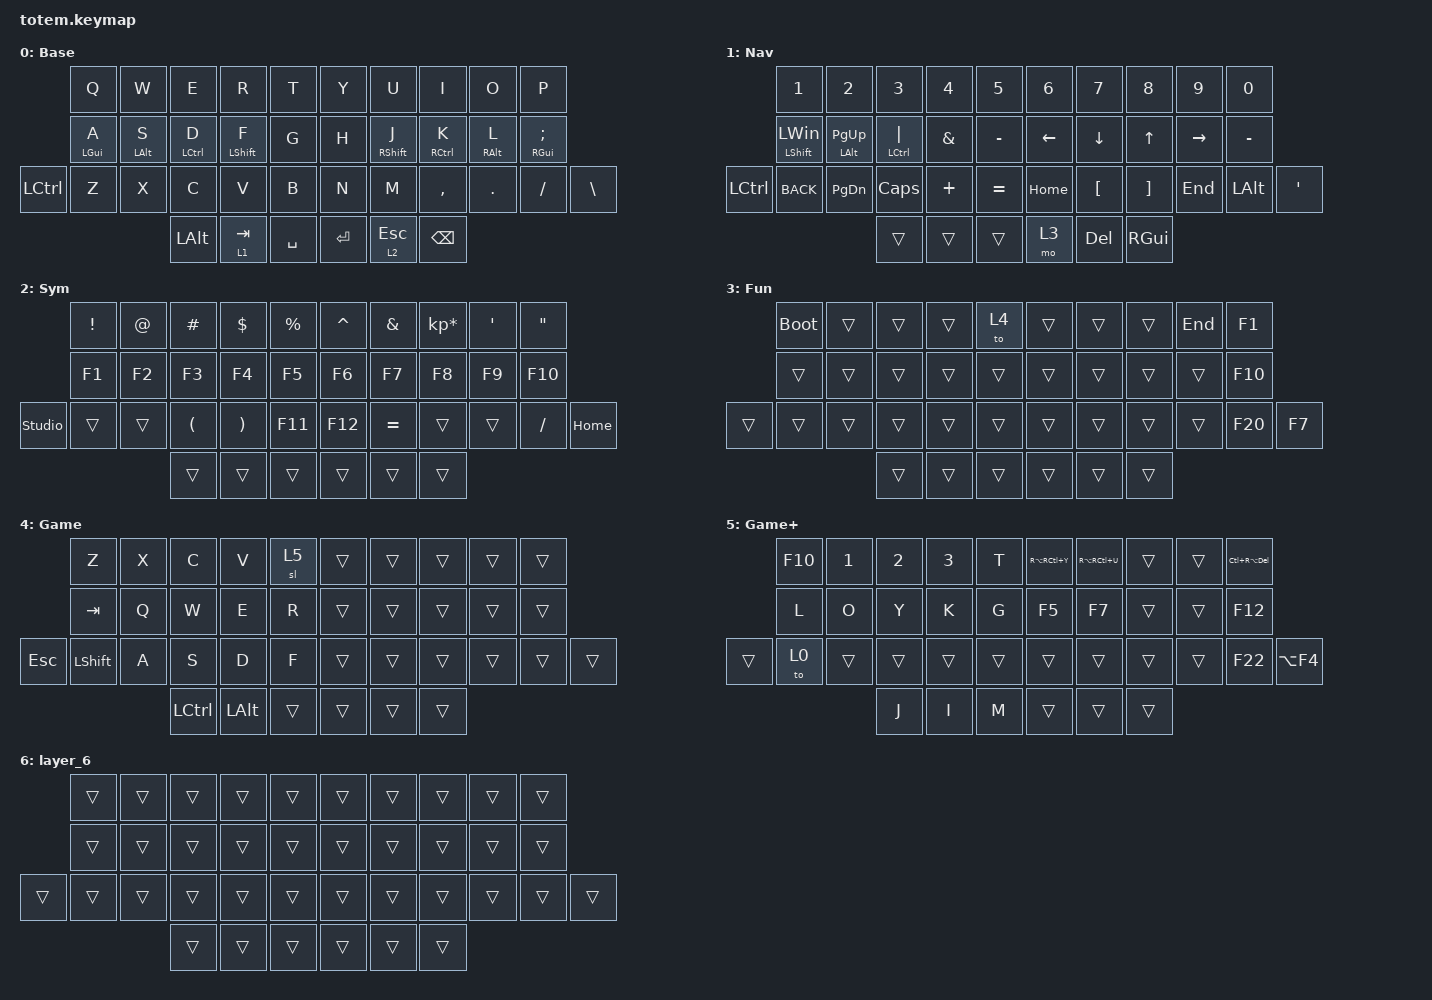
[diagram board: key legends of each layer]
//
//                                                        ▀▀▀▀▀     ▀▀▀▀▀          ▀▀█▀▀
//                                                        ▄▀▀▀▄  ▄  ▄▀▀▀▄  ▄  ▄▀▀▀▄  █  ▄▀▀▀▄
//                                                        █   █  █  █   █  █  █   █  █  █   █
//                                                         ▀▀▀   █   ▀▀▀   █   ▀▀▀   ▀   ▀▀▀
//                                                               █      ▄▄▄█▄▄▄    █   █  
//                                                               ▀      █  █  █     █▄█
//                                                             ▀▀▀▀▀    █  █  █      ▀
//                                                                      ▀  ▀  ▀
//
// ▄▄▄▄▄▄▄▄▄▄▄▄▄▄▄▄▄▄▄▄▄▄▄▄▄▄▄▄▄▄▄▄▄▄▄▄▄▄▄▄▄▄▄▄▄▄▄▄▄▄▄▄▄▄▄▄▄▄▄▄▄▄▄▄▄▄▄▄▄▄▄▄▄▄▄▄▄▄▄▄▄▄▄▄▄▄▄▄▄▄▄▄▄▄▄▄▄▄▄▄▄▄▄▄▄▄▄▄▄▄▄▄▄▄▄▄▄▄▄▄▄▄▄▄▄▄▄▄▄▄▄▄▄▄▄▄▄▄▄▄▄▄▄▄▄▄▄▄▄

#include <behaviors.dtsi>
#include <dt-bindings/zmk/keys.h>

#define Base        0
#define Nav         1
#define Sym         2
#define Fun         3
#define Game        4
#define Gameplus    5

&mt {
    quick-tap-ms = <100>;
    global-quick-tap;
    flavor = "tap-preferred";
    tapping-term-ms = <170>;
};

&lt {
    tapping-term-ms = <240>;
    flavor = "balanced";
    quick-tap-ms = <150>;
};

/ {
    behaviors {
        hm: homerow_mods {
            compatible = "zmk,behavior-hold-tap";
            label = "HOMEROW_MODS";
            #binding-cells = <2>;
            flavor = "tap-preferred";
            tapping-term-ms = <200>;
            quick-tap-ms = <125>;
            global-quick-tap;
            bindings = <&kp>, <&kp>;
        };
    };

    combos {
        compatible = "zmk,combos";

        esc {
            bindings = <&kp ESCAPE>;
            key-positions = <0 1>;
        };
    };

    keymap {
        compatible = "zmk,keymap";

        Base {
            display-name = "Base";
            bindings = <
           &kp Q       &kp W       &kp E         &kp R         &kp T        &kp Y    &kp U         &kp I          &kp O       &kp P
           &hm LGUI A  &hm LALT S  &hm LCTRL D   &hm LSHIFT F  &kp G        &kp H    &hm RSHFT J   &hm RCTRL K    &hm RALT L  &hm RGUI SEMICOLON
&kp LCTRL  &kp Z       &kp X       &kp C         &kp V         &kp B        &kp N    &kp M         &kp COMMA      &kp DOT     &kp SLASH           &kp BACKSLASH
                                   &kp LEFT_ALT  &lt 1 TAB     &kp SPACE    &kp RET  &lt 2 ESCAPE  &kp BACKSPACE
            >;
        };

        Nav {
            display-name = "Nav";
            bindings = <
           &kp NUMBER_1         &kp NUMBER_2          &kp NUMBER_3           &kp NUMBER_4  &kp NUMBER_5    &kp NUMBER_6    &kp N7            &kp NUMBER_8       &kp NUMBER_9  &kp NUMBER_0
           &mt LEFT_SHIFT LWIN  &mt LEFT_ALT PAGE_UP  &mt LEFT_CONTROL PIPE  &kp AMPS      &kp MINUS       &kp LEFT_ARROW  &kp DOWN          &kp UP_ARROW       &kp RIGHT     &kp MINUS
&kp LCTRL  &kp K_BACK           &kp PAGE_DOWN         &kp CLCK               &kp PLUS      &kp EQUAL       &kp HOME        &kp LEFT_BRACKET  &kp RIGHT_BRACKET  &kp END       &kp LEFT_ALT  &kp SINGLE_QUOTE
                                                      &trans                 &trans        &trans          &mo 3           &kp DEL           &kp RIGHT_GUI
            >;
        };

        Sym {
            display-name = "Sym";
            bindings = <
                &kp EXCL  &kp AT  &kp HASH              &kp DOLLAR             &kp PERCENT    &kp CARET  &kp AMPERSAND  &kp KP_ASTERISK  &kp SQT  &kp DQT
                &kp F1    &kp F2  &kp F3                &kp F4                 &kp F5         &kp F6     &kp F7         &kp F8           &kp F9   &kp F10
&studio_unlock  &trans    &trans  &kp LEFT_PARENTHESIS  &kp RIGHT_PARENTHESIS  &kp F11        &kp F12    &kp EQUAL      &trans           &trans   &kp SLASH  &kp HOME
                                  &trans                &trans                 &trans         &trans     &trans         &trans
            >;
        };

        Fun {
            display-name = "Fun";
            bindings = <
        &bootloader  &trans  &trans  &trans  &to 4     &trans  &trans  &trans  &kp END  &kp F1
        &trans       &trans  &trans  &trans  &trans    &trans  &trans  &trans  &trans   &kp F10
&trans  &trans       &trans  &trans  &trans  &trans    &trans  &trans  &trans  &trans   &kp F20  &kp F7
                             &trans  &trans  &trans    &trans  &trans  &trans
            >;
        };

        Gaming {
            display-name = "Game";
            bindings = <
            &kp Z           &kp X  &kp C      &kp V         &sl 5     &trans  &trans  &trans  &trans  &trans
            &kp TAB         &kp Q  &kp W      &kp E         &kp R     &trans  &trans  &trans  &trans  &trans
&kp ESCAPE  &kp LEFT_SHIFT  &kp A  &kp S      &kp D         &kp F     &trans  &trans  &trans  &trans  &trans  &trans
                                   &kp LCTRL  &kp LEFT_ALT  &trans    &trans  &trans  &trans
            >;
        };

        Gaming+ {
            display-name = "Game+";
            bindings = <
        &kp F10  &kp NUMBER_1  &kp NUMBER_2  &kp NUMBER_3  &kp T     &kp RA(RC(Y))  &kp RA(RC(U))  &trans  &trans  &kp LC(RA(DEL))
        &kp L    &kp O         &kp Y         &kp K         &kp G     &kp F5         &kp F7         &trans  &trans  &kp F12
&trans  &to 0    &trans        &trans        &trans        &trans    &trans         &trans         &trans  &trans  &kp F22          &kp LA(F4)
                               &kp J         &kp I         &kp M     &trans         &trans         &trans
            >;
        };

        layer_6 {
            bindings = <
        &trans  &trans  &trans  &trans  &trans    &trans  &trans  &trans  &trans  &trans
        &trans  &trans  &trans  &trans  &trans    &trans  &trans  &trans  &trans  &trans
&trans  &trans  &trans  &trans  &trans  &trans    &trans  &trans  &trans  &trans  &trans  &trans
                        &trans  &trans  &trans    &trans  &trans  &trans
            >;
        };
    };
};
